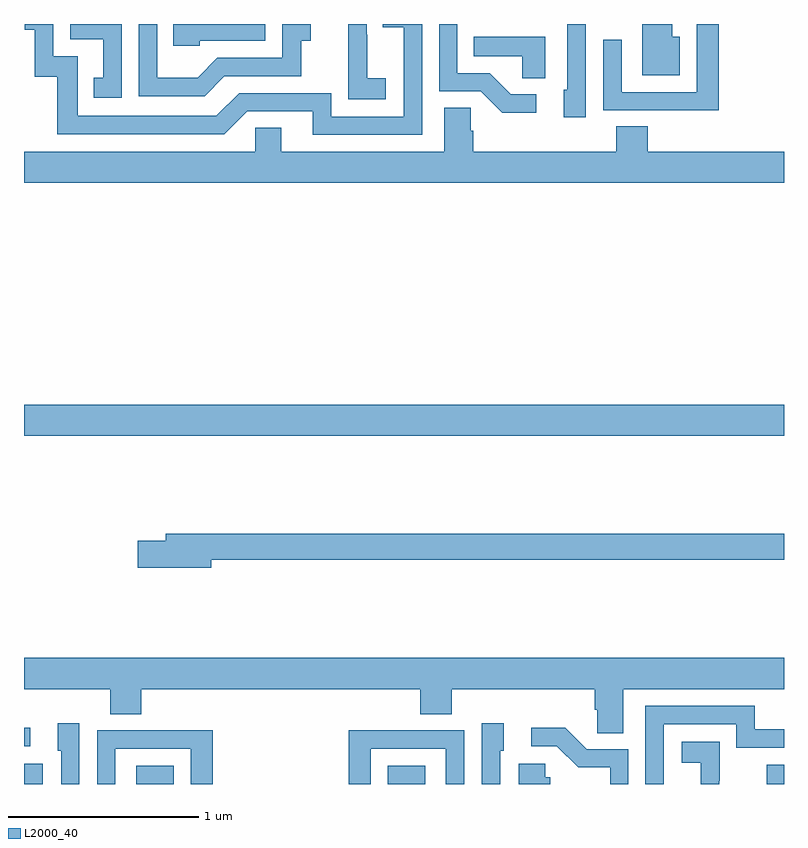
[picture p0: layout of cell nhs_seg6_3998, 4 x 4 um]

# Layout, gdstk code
import gdstk
lib = gdstk.Library(unit=1e-6, precision=1e-09)
def R(c, l, rs):  # rectangles x0, y0, x1, y1
    for r in rs: c.add(gdstk.rectangle(r[:2], r[2:], *l))
def P(c, l, *ps):  # polygons
    for p in ps: c.add(gdstk.Polygon(p, *l))
L2000_40 = (2000, 40)

nhs_seg6_3998 = lib.new_cell('nhs_seg6_3998')
R(nhs_seg6_3998, L2000_40, [(347,949.5,347.098,949.606), (347.591,949.5,347.788,949.597), (348.914,949.5,349.111,949.597), (350.908,949.5,351,949.602), (347,949.698,347.032,949.796), (347,951.332,351,951.496)])
P(nhs_seg6_3998, L2000_40, [(348.904,953.215),(348.806,953.215),(348.806,953.444),(348.804,953.444),(348.804,953.5),(348.707,953.5),(348.707,953.311),(348.706,953.311),(348.706,953.105),(348.904,953.105)],
  [(347.514,953.5),(347.244,953.5),(347.244,953.421),(347.417,953.421),(347.417,953.217),(347.368,953.217),(347.368,953.112),(347.514,953.112)],
  [(348.055,953.226),(348.459,953.226),(348.459,953.411),(348.508,953.411),(348.508,953.5),(348.36,953.5),(348.36,953.322),(348.018,953.322),(347.914,953.218),(347.7,953.218),(347.7,953.5),(347.604,953.5),(347.604,953.121),(347.95,953.121)],
  [(349.956,953.5),(349.86,953.5),(349.86,953.154),(349.841,953.154),(349.841,953.01),(349.956,953.01)],
  [(349.095,953.5),(348.889,953.5),(348.889,953.482),(348.999,953.482),(348.999,953.013),(348.618,953.013),(348.618,953.136),(348.132,953.136),(348.012,953.016),(347.283,953.016),(347.283,953.331),(347.154,953.331),(347.154,953.5),(347.004,953.5),(347.004,953.469),(347.057,953.469),(347.057,953.223),(347.175,953.223),(347.175,952.92),(348.054,952.92),(348.174,953.04),(348.521,953.04),(348.521,952.917),(349.095,952.917)],
  [(350.452,953.434),(350.413,953.434),(350.413,953.5),(350.255,953.5),(350.255,953.231),(350.452,953.231)],
  [(347.925,953.412),(348.27,953.412),(348.27,953.5),(347.785,953.5),(347.785,953.385),(347.925,953.385)],
  [(350.657,953.5),(350.541,953.5),(350.541,953.142),(350.145,953.142),(350.145,953.416),(350.049,953.416),(350.049,953.046),(350.365,953.046),(350.365,953.045),(350.657,953.045)],
  [(349.696,953.13),(349.561,953.13),(349.45,953.241),(349.281,953.241),(349.281,953.5),(349.185,953.5),(349.185,953.145),(349.404,953.145),(349.517,953.033),(349.696,953.033)],
  [(349.744,953.434),(349.366,953.434),(349.366,953.33),(349.623,953.33),(349.623,953.215),(349.744,953.215)],
  [(351,952.828),(350.282,952.828),(350.282,952.961),(350.117,952.961),(350.117,952.828),(349.364,952.828),(349.364,952.937),(349.35,952.937),(349.35,953.06),(349.211,953.06),(349.211,952.828),(348.355,952.828),(348.355,952.955),(348.216,952.955),(348.216,952.828),(347,952.828),(347,952.664),(351,952.664)],
  [(347.986,950.68),(351,950.68),(351,950.816),(347.747,950.816),(347.747,950.78),(347.598,950.78),(347.598,950.638),(347.986,950.638)],
  [(347,950),(347.453,950),(347.453,949.867),(347.618,949.867),(347.618,950),(349.085,950),(349.085,949.867),(349.25,949.867),(349.25,950),(350.003,950),(350.003,949.891),(350.016,949.891),(350.016,949.768),(350.155,949.768),(350.155,950),(351,950),(351,950.164),(347,950.164)],
  [(350.367,949.815),(350.748,949.815),(350.748,949.692),(351,949.692),(351,949.788),(350.845,949.788),(350.845,949.911),(350.271,949.911),(350.271,949.5),(350.367,949.5)],
  [(347.292,949.819),(347.177,949.819),(347.177,949.674),(347.196,949.674),(347.196,949.5),(347.292,949.5)],
  [(349.506,949.674),(349.525,949.674),(349.525,949.819),(349.41,949.819),(349.41,949.5),(349.506,949.5)],
  [(350.181,949.683),(349.962,949.683),(349.849,949.796),(349.671,949.796),(349.671,949.698),(349.805,949.698),(349.916,949.587),(350.085,949.587),(350.085,949.5),(350.181,949.5)],
  [(348.825,949.686),(349.221,949.686),(349.221,949.5),(349.317,949.5),(349.317,949.782),(349.001,949.782),(349.001,949.784),(348.709,949.784),(348.709,949.5),(348.825,949.5)],
  [(347.481,949.686),(347.877,949.686),(347.877,949.5),(347.993,949.5),(347.993,949.784),(347.701,949.784),(347.701,949.782),(347.385,949.782),(347.385,949.5),(347.481,949.5)],
  [(350.66,949.517),(350.661,949.517),(350.661,949.723),(350.463,949.723),(350.463,949.613),(350.561,949.613),(350.561,949.5),(350.66,949.5)],
  [(349.77,949.536),(349.743,949.536),(349.743,949.606),(349.604,949.606),(349.604,949.5),(349.77,949.5)])

lib.write_gds('nhs_seg6_3998.gds')
